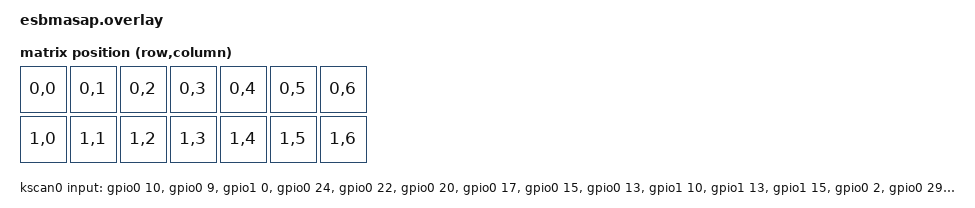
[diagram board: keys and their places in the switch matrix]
#include <dt-bindings/zmk/matrix_transform.h>

/ {
	chosen {
		zmk,kscan = &kscan0;
		zmk,matrix_transform = &default_transform;
	};

	kscan0: kscan {
		compatible = "zmk,kscan-gpio-direct";

		label = "KSCAN";

		input-gpios
			= <&gpio0 10 (GPIO_PULL_UP | GPIO_ACTIVE_LOW)>
			, <&gpio0  9 (GPIO_PULL_UP | GPIO_ACTIVE_LOW)>
			, <&gpio1  0 (GPIO_PULL_UP | GPIO_ACTIVE_LOW)>
			, <&gpio0 24 (GPIO_PULL_UP | GPIO_ACTIVE_LOW)>
			, <&gpio0 22 (GPIO_PULL_UP | GPIO_ACTIVE_LOW)>
			, <&gpio0 20 (GPIO_PULL_UP | GPIO_ACTIVE_LOW)>
			, <&gpio0 17 (GPIO_PULL_UP | GPIO_ACTIVE_LOW)>
			, <&gpio0 15 (GPIO_PULL_UP | GPIO_ACTIVE_LOW)>
			, <&gpio0 13 (GPIO_PULL_UP | GPIO_ACTIVE_LOW)>

			, <&gpio1 10 (GPIO_PULL_UP | GPIO_ACTIVE_LOW)>
			, <&gpio1 13 (GPIO_PULL_UP | GPIO_ACTIVE_LOW)>
			, <&gpio1 15 (GPIO_PULL_UP | GPIO_ACTIVE_LOW)>
			, <&gpio0  2 (GPIO_PULL_UP | GPIO_ACTIVE_LOW)>
			, <&gpio0 29 (GPIO_PULL_UP | GPIO_ACTIVE_LOW)>
			, <&gpio0 31 (GPIO_PULL_UP | GPIO_ACTIVE_LOW)>;
	};

	default_transform: keymap_transform_0 {
		compatible = "zmk,matrix-transform";
		columns = <7>;
		rows = <2>;

		map = <
			RC(0,0) RC(0,1) RC(0,2) RC(0,3) RC(0,4) RC(0,5) RC(0,6) 
			RC(1,0) RC(1,1) RC(1,2) RC(1,3) RC(1,4) RC(1,5) RC(1,6)
		>;
	};
};
